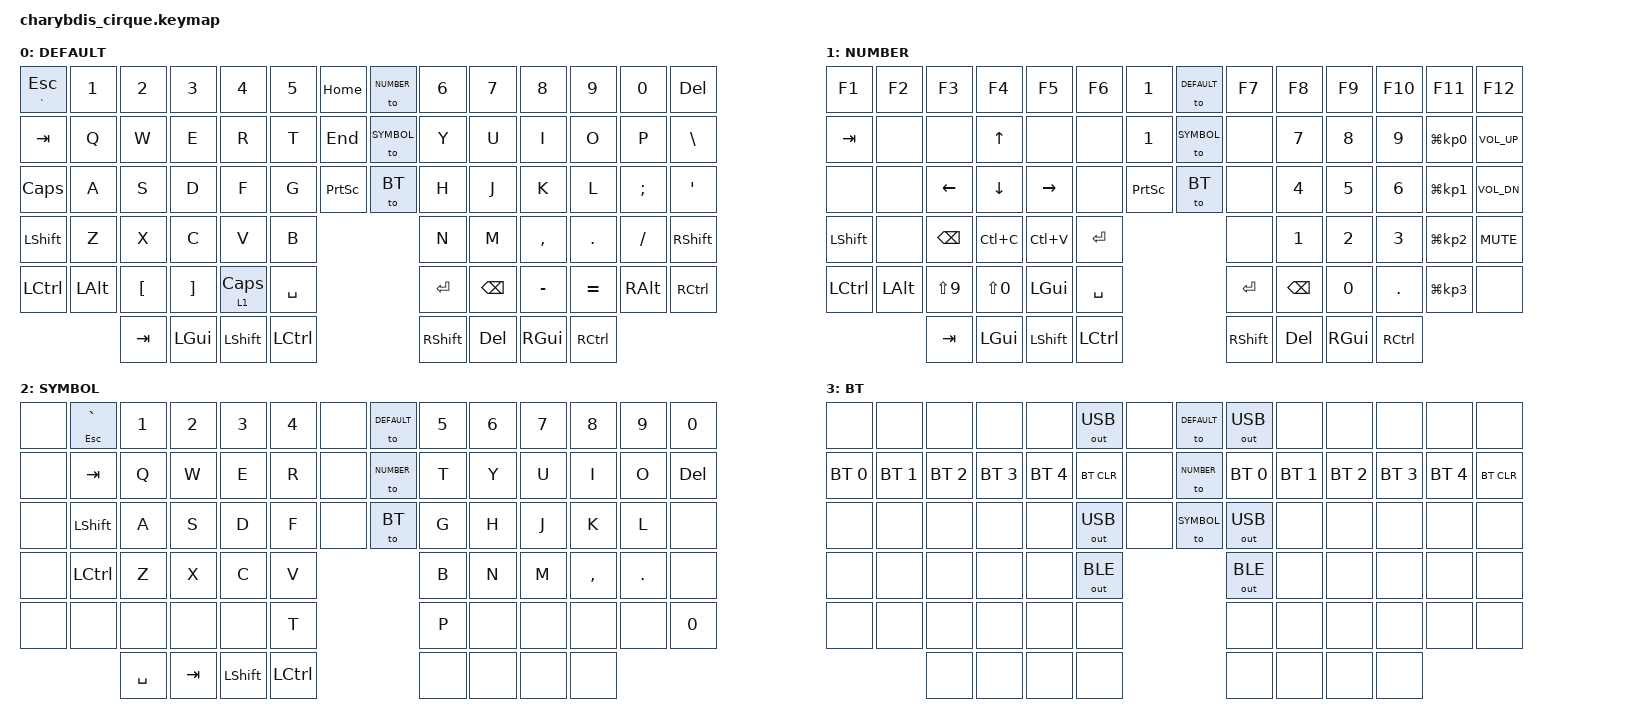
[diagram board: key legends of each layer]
#include <behaviors.dtsi>
#include <dt-bindings/zmk/keys.h>
#include <dt-bindings/zmk/bt.h>
#include <dt-bindings/zmk/outputs.h>

#define DEFAULT 0
#define NUMBER  1
#define SYMBOL  2
#define BT      3

#define AS(keycode) &as LS(keycode) keycode

/ {
    behaviors {
        td0: tap_dance_0 {
            compatible = "zmk,behavior-tap-dance";
            label = "TAP_DANCE_0";
            #binding-cells = <0>;
            tapping-term-ms = <200>;
            bindings = <&sl NUMBER>, <&kp CAPS>;
        };

        as: auto_shift {
            compatible = "zmk,behavior-hold-tap";
            label = "AUTO_SHIFT";
            #binding-cells = <2>;
            tapping-term-ms = <200>;
            quick-tap-ms = <0>;
            flavor = "tap-preferred";
            bindings = <&kp>, <&kp>;
        };

        modcp: mod_copy {
            compatible = "zmk,behavior-mod-morph";
            label = "MOD_COPY";
            #binding-cells = <0>;
            bindings = <&as LS(C) C>, <&kp C>;
            mods = <(LGUI | RGUI)>;
        };
    };


    macros {
        macro_phone: macro_phone {
            // 1351
            label = "MACRO_PHONE";
            compatible = "zmk,behavior-macro";
            #binding-cells = <0>;
            bindings
                = < &kp N1 &kp N3 &kp N5  &kp N1>
                ;
        };
        macro_email_q: macro_email_q {
            // 2894512440@qq.com
            label = "MACRO_EMAIL_QQ";
            compatible = "zmk,behavior-macro";
            #binding-cells = <0>;
            bindings 
                = < &kp N2 &kp N8 &kp N9 &kp N4 &kp N5 &kp  N1 &kp N2 &kp N4 &kp N4 &kp N0 
                    &kp AT &kp Q &kp Q &kp DOT  &kp C &kp O &kp M>
                ;
        };
        macro_email_g: macro_email_g {
            // 135115
            compatible = "zmk,behavior-macro";
            label = "MACRO_EMAIL_GMAIL";
            #binding-cells = <0>;
            bindings
                = < &kp N1 &kp N3 &kp N5  &kp N1 &kp N1 &kp N5 > ;
        };

    };

//     combos {
//        compatible = "zmk,combos";
//        combo_esc {
//            timeout-ms = <50>;
//            key-positions = <2 38>;
//            bindings = <&kp TAB>;
//        };
//        combo_rgui {
//            timeout-ms = <50>;
//            key-positions = <3 38>;
//            bindings = <&kp CAPS>;
//        };
//
//        combo_LSHFT {
//            timeout-ms = <50>;
//            key-positions = <14 38>;
//            bindings = <&kp  LSHFT>;
//        };
//
//        combo_2 {
//            timeout-ms = <50>;
//            key-positions = <15 38>;
//            bindings = <&kp N2 >;
//        };
//        combo_3 {
//            timeout-ms = <50>;
//            key-positions = <16 38>;
//            bindings = <&kp N3>;
//        };
//        combo_LGUI {
//            timeout-ms = <50>;
//            key-positions = <26 38>;
//            bindings = <&kp LGUI>;
//        };
//        combo_GUI {
//            timeout-ms = <50>;
//            key-positions = <27 38>;
//            bindings = <&tog 1>;
//        };
//        combo_G {
//            timeout-ms = <50>;
//            key-positions = <14 39>;
//            bindings = <&mo 4>;
//        };
//        combo_GU {
//            timeout-ms = <50>;
//            key-positions = <14 39>;
//            bindings = <&mo 2>;
//        };
//        combo_m {
//            timeout-ms = <50>;
//            key-positions = <21 41>;
//            bindings = <&mo 4>;
//        };
//
//   };



    keymap {
       compatible = "zmk,keymap";
       default_layer {
            label = "DEFAULT";
            bindings = <
   &mt GRAVE ESC      &kp N1     &kp N2      &kp N3     &kp N4     &kp N5     &kp HOME     &to NUMBER    &kp N6        &kp N7       &kp N8     &kp N9     &kp N0     &kp DEL
   &kp TAB            &kp Q      &kp W       &kp E      &kp R      &kp T      &kp END      &to SYMBOL    &kp Y         &kp U        &kp I      &kp O      &kp P      &kp BSLH
   &kp CAPS           &kp A      &kp S       &kp D      &kp F      &kp G      &kp PSCRN    &to BT        &kp H         &kp J        &kp K      &kp L      &kp SEMI   &kp SQT
   &kp LSHIFT         &kp Z      &kp X       &kp C      &kp V      &kp B                                 &kp N         &kp M        &kp COMMA  &kp DOT    &kp FSLH   &kp RSHIFT
   &kp LCTRL          &kp LALT   &kp LBKT    &kp RBKT   &lt 1 CAPS &kp SPACE                             &kp ENTER     &kp BSPC     &kp MINUS  &kp EQUAL  &kp RALT   &kp RCTRL
                                 &kp TAB     &kp LGUI   &kp LSHIFT &kp LCTRL                             &kp RSHIFT    &kp DEL      &kp RGUI   &kp RCTRL
            >;
        };


          number_layer {
            label = "NUMBER";
            bindings = <
   &kp F1       &kp F2       &kp F3       &kp F4       &kp F5     &kp F6     &kp N1       &to DEFAULT      &kp F7     &kp F8     &kp F9     &kp F10    &kp F11       &kp F12
   &kp TAB      &none        &none        &kp UP       &none      &none      &kp N1       &to SYMBOL       &none      &kp N7     &kp N8     &kp N9     &kp LG(KP_N0) &kp C_VOL_UP
   &none        &none        &kp LEFT     &kp DOWN     &kp RIGHT  &none      &kp PSCRN    &to BT           &none      &kp N4     &kp N5     &kp N6     &kp LG(KP_N1) &kp C_VOL_DN
   &kp LSHIFT   &none        &kp BSPC     &kp LC(C)    &kp LC(V)  &kp ENTER                                &none      &kp N1     &kp N2     &kp N3     &kp LG(KP_N2) &kp C_MUTE
   &kp LCTRL    &kp LALT     &kp LS(N9)   &kp LS(N0)   &kp LGUI   &kp SPACE                                &kp ENTER  &kp BSPC   &kp N0     &kp DOT    &kp LG(KP_N3) &none
                             &kp TAB      &kp LGUI     &kp LSHIFT &kp LCTRL                                &kp RSHIFT &kp DEL    &kp RGUI   &kp RCTRL
            >;
        };

        symbol_layer {
            label = "SYMBOL";
            bindings = <
             &none         &mt ESC GRAVE &kp N1    &kp N2    &kp N3    &kp N4      &none      &to DEFAULT   &kp N5    &kp N6    &kp N7    &kp N8     &kp N9    &kp N0
             &none         &kp TAB       &kp Q     &kp W     &kp E     &kp R       &none      &to NUMBER    &kp T     &kp Y     &kp U     &kp I      &kp O     &kp DEL
             &none         &kp LSHIFT    &kp A     &kp S     &kp D     &kp F       &none      &to BT        &kp G     &kp H     &kp J     &kp K      &kp L     &none
             &none         &kp LCTRL     &kp Z     &kp X     &kp C     &kp V                                &kp B     &kp N     &kp M     &kp COMMA  &kp DOT   &none
             &none         &none         &none     &none     &none     &kp T                                &kp P     &none     &none     &none      &none     &kp N0 
                                         &kp SPACE &kp TAB   &kp LSHFT &kp LCTRL                            &none     &none     &none     &none
             >;
        };


        hotkey_layer {
            label = "BT";
            bindings = <
 &none        &none        &none        &none        &none        &out OUT_USB    &none   &to DEFAULT      &out OUT_USB  &none         &none         &none         &none         &none
 &bt BT_SEL 0 &bt BT_SEL 1 &bt BT_SEL 2 &bt BT_SEL 3 &bt BT_SEL 4 &bt BT_CLR      &none   &to NUMBER       &bt BT_SEL 0  &bt BT_SEL 1  &bt BT_SEL 2  &bt BT_SEL 3  &bt BT_SEL 4  &bt BT_CLR
 &none        &none        &none        &none        &none        &out OUT_USB    &none   &to SYMBOL       &out OUT_USB  &none         &none         &none         &none         &none
 &none        &none        &none        &none        &none        &out OUT_BLE                             &out OUT_BLE  &none         &none         &none         &none         &none
 &none        &none        &none        &none        &none        &none                                    &none         &none         &none         &none         &none         &none
                           &none        &none        &none        &none                                    &none         &none         &none         &none
            >;
        };


   };
};
